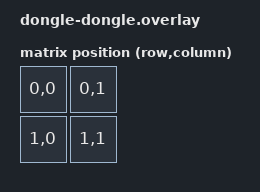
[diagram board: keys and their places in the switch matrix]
#include <dt-bindings/zmk/matrix_transform.h>

/ {
    chosen {
        zmk,kscan = &mock_kscan;
        zmk,physical-layout = &physical_layout0;
    };

    physical_layout0: physical_layout_0 {
        compatible = "zmk,physical-layout";
        display-name = "Default Layout";
        transform = <&default_transform>;

        // kscan = <&kscan0>;
        transform = <&default_transform>;

        keys  //                     w   h    x    y     rot    rx    ry
            = <&key_physical_attrs 100 100    0    0       0     0     0>
            , <&key_physical_attrs 100 100  100    0       0     0     0>
            , <&key_physical_attrs 100 100    0  100       0     0     0>
            , <&key_physical_attrs 100 100  100  100       0     0     0>
            ;
    };
    };

    mock_kscan: mock_kscan_0 {
        compatible = "zmk,kscan-mock";
        columns = <0>;
        rows = <0>;
        events = <0>;
    };

    default_transform: keymap_transform_m {
        compatible = "zmk,matrix-transform";
        columns = <2>;
        rows = <2>;
        map = <
        //   Key 1 | Key 2
            RC(0,0) RC(0,1)
        //   Key 3 | Key 4
            RC(1,0) RC(1,1)
        >;
    };

    // default_transform: keymap_transform_c {
    //     compatible = "zmk,matrix-transform";
    //     columns = <3>;
    //     rows = <3>;
    //     map = <
    //     //  [1]     [2]
    //         RC(1,0) RC(0,1)
    //     //  [3]     [4]
    //         RC(1,2) RC(2,0)
    //     //  [5]     [6]
    //         RC(2,1) RC(0,2)
    //     >;
    // };

    //    ┌──────────────────┐
    //    │  ┌────────────┐  │
    //    │  │ Seeed XIAO │  │
    //    │  │  nRF52840  │  │
    //    │  └────────────┘  │
    //    │                  │
    //    │                  │
    //    │   [1]      [2]   │
    //    │                  │
    //    │   [3]      [4]   │
    //    │                  │
    //    │   [5]      [6]   │
    //    │                  │
    //    └──────────────────┘

};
